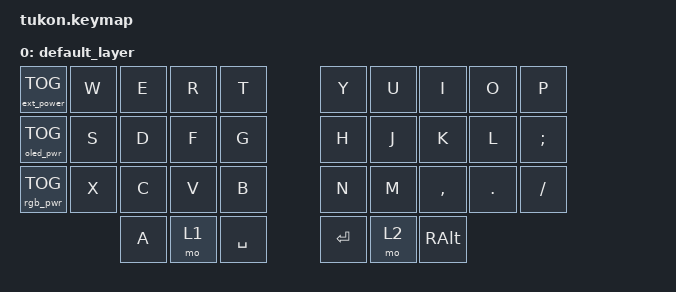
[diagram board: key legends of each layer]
#include <behaviors.dtsi>
#include <dt-bindings/zmk/keys.h>
#include <dt-bindings/zmk/bt.h>
#include <dt-bindings/zmk/ext_power.h>

/ {
        behaviors {
        // Behavior can be invoked on peripherals, so name must be <= 8 characters.
        oled_pwr: oledpwr {
            compatible = "zmk,behavior-ext-power";
            #binding-cells = <1>;
            power-node-name = "OLED_PWR";
        };
        rgb_pwr: rgbpwr {
            compatible = "zmk,behavior-ext-power";
            #binding-cells = <1>;
            power-node-name = "RGB_PWR";
        };
    };
        keymap {
                compatible = "zmk,keymap";

                default_layer {
// -----------------------------------------------------------------------------------------
// |  Q  |  W  |  E  |  R  |  T  |   |  Y  |  U   |  I  |  O  |  P  |
// |  A  |  S  |  D  |  F  |  G  |   |  H  |  J   |  K  |  L  |  ;  |
// |  Z  |  X  |  C  |  V  |  B  |   |  N  |  M   |  ,  |  .  |  /  |
//             | GUI | LWR | SPC |   | ENT | RSE  | ALT |
                        bindings = <
   &ext_power EP_TOG &kp W &kp E &kp R &kp T   &kp Y &kp U  &kp I     &kp O   &kp P   
   &oled_pwr EP_TOG  &kp S &kp D &kp F &kp G   &kp H &kp J  &kp K     &kp L   &kp SEMI
   &rgb_pwr EP_TOG &kp X &kp C &kp V &kp B   &kp N &kp M  &kp COMMA &kp DOT &kp FSLH
        &kp A &mo 1 &kp SPACE   &kp RET &mo 2 &kp RALT
                        >;
                };
        };
};
